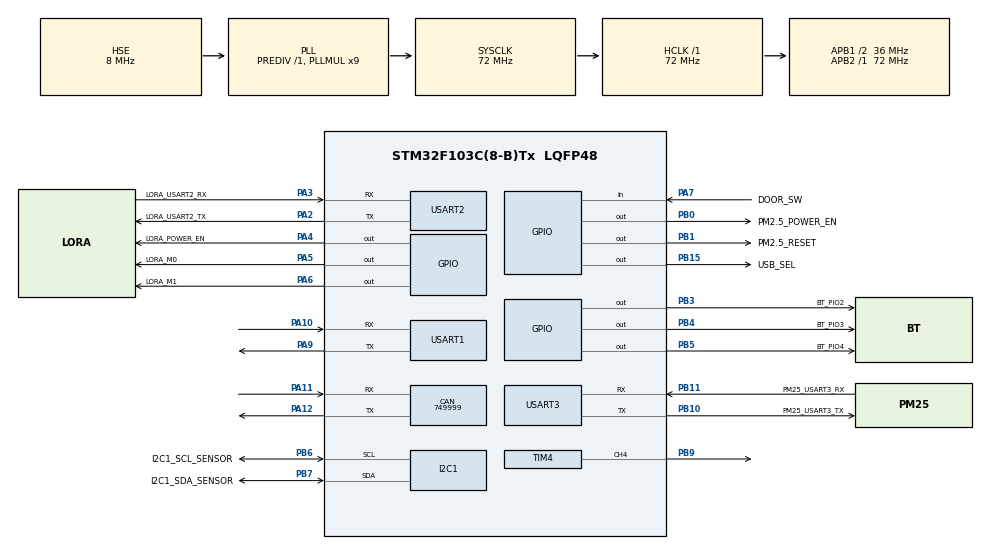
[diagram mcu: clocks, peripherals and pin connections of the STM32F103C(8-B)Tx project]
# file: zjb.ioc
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CAN.BS1=CAN_BS1_1TQ
CAN.BS2=CAN_BS2_1TQ
CAN.CalculateBaudRate=749999
CAN.CalculateTimeBit=1333
CAN.CalculateTimeQuantum=444.44444444444446
FREERTOS.Tasks01=defaultTask,24,128,StartDefaultTask,Default,NULL,Dynamic,NULL,NULL
Mcu.Family=STM32F1
Mcu.Name=STM32F103C(8-B)Tx
Mcu.Package=LQFP48
NVIC.PriorityGroup=NVIC_PRIORITYGROUP_4
PA10.Mode=Asynchronous
PA10.Signal=USART1_RX
PA11.Mode=CAN_Activate
PA11.Signal=CAN_RX
PA12.Mode=CAN_Activate
PA12.Signal=CAN_TX
PA13.Mode=Serial_Wire
PA13.Signal=SYS_JTMS-SWDIO
PA14.Mode=Serial_Wire
PA14.Signal=SYS_JTCK-SWCLK
PA2.GPIO_Label=LORA_USART2_TX
PA2.Mode=Asynchronous
PA2.Signal=USART2_TX
PA3.GPIO_Label=LORA_USART2_RX
PA3.Mode=Asynchronous
PA3.Signal=USART2_RX
PA4.GPIO_Label=LORA_POWER_EN
PA4.GPIO_PuPd=GPIO_PULLUP
PA4.PinState=GPIO_PIN_SET
PA4.Signal=GPIO_Output
PA5.GPIO_Label=LORA_M0
PA5.Signal=GPIO_Output
PA6.GPIO_Label=LORA_M1
PA6.Signal=GPIO_Output
PA7.GPIO_Label=DOOR_SW
PA7.Signal=GPIO_Input
PA9.Mode=Asynchronous
PA9.Signal=USART1_TX
PB0.GPIO_Label=PM2.5_POWER_EN
PB0.Signal=GPIO_Output
PB1.GPIO_Label=PM2.5_RESET
PB1.Signal=GPIO_Output
PB10.GPIO_Label=PM25_USART3_TX
PB10.Mode=Asynchronous
PB10.Signal=USART3_TX
PB11.GPIO_Label=PM25_USART3_RX
PB11.Mode=Asynchronous
PB11.Signal=USART3_RX
PB15.GPIO_Label=USB_SEL
PB15.Signal=GPIO_Output
PB3.GPIO_Label=BT_PIO2
PB3.Signal=GPIO_Output
PB4.GPIO_Label=BT_PIO3
PB4.Signal=GPIO_Output
PB5.GPIO_Label=BT_PIO4
PB5.Signal=GPIO_Output
PB6.GPIO_Label=I2C1_SCL_SENSOR
PB6.Mode=I2C
PB6.Signal=I2C1_SCL
PB7.GPIO_Label=I2C1_SDA_SENSOR
PB7.Mode=I2C
PB7.Signal=I2C1_SDA
PB9.Signal=S_TIM4_CH4
PD0-OSC_IN.Mode=HSE-External-Oscillator
PD0-OSC_IN.Signal=RCC_OSC_IN
PD1-OSC_OUT.Mode=HSE-External-Oscillator
PD1-OSC_OUT.Signal=RCC_OSC_OUT
ProjectManager.HeapSize=0x200
ProjectManager.StackSize=0x400
ProjectManager.TargetToolchain=MDK-ARM V5.32
RCC.AHBFreq_Value=72000000
RCC.APB1CLKDivider=RCC_HCLK_DIV2
RCC.APB1Freq_Value=36000000
RCC.APB1TimFreq_Value=72000000
RCC.APB2Freq_Value=72000000
RCC.APB2TimFreq_Value=72000000
RCC.HCLKFreq_Value=72000000
RCC.PLLMUL=RCC_PLL_MUL9
RCC.PLLSourceVirtual=RCC_PLLSOURCE_HSE
RCC.SYSCLKFreq_VALUE=72000000
RCC.SYSCLKSource=RCC_SYSCLKSOURCE_PLLCLK
RCC.USBFreq_Value=72000000
SH.S_TIM4_CH4.0=TIM4_CH4,PWM Generation4 CH4
TIM4.Channel-PWM\ Generation4\ CH4=TIM_CHANNEL_4
USART1.VirtualMode=VM_ASYNC
USART2.VirtualMode=VM_ASYNC
USART3.VirtualMode=VM_ASYNC
VP_FREERTOS_VS_CMSIS_V2.Mode=CMSIS_V2
board=custom

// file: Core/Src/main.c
/* USER CODE BEGIN Header */
/**
  ******************************************************************************
  * @file           : main.c
  * @brief          : Main program body
  ******************************************************************************
  * @attention
  *
  * Copyright (c) 2026 STMicroelectronics.
  * All rights reserved.
  *
  * This software is licensed under terms that can be found in the LICENSE file
  * in the root directory of this software component.
  * If no LICENSE file comes with this software, it is provided AS-IS.
  *
  ******************************************************************************
  */
/* USER CODE END Header */
#include "main.h"
#include "cmsis_os.h"
#include "can.h"
#include "i2c.h"
#include "tim.h"
#include "usart.h"
#include "gpio.h"

/* USER CODE BEGIN Includes */
#include "config_flash.h"
#include "ota.h"
#include "lora_boot.h"
/* USER CODE END Includes */

void SystemClock_Config(void);
void MX_FREERTOS_Init(void);

int main(void)
{

  /* USER CODE BEGIN 1 */
  /* 重定向中断向量表到 App 起始地址（Bootloader 跳转后 VTOR 仍指向 0x08000000） */
  SCB->VTOR = APP_FLASH_ADDR;
  /* USER CODE END 1 */

  /* MCU Configuration--------------------------------------------------------*/

  /* Reset of all peripherals, Initializes the Flash interface and the Systick. */
  HAL_Init();

  /* Configure the system clock */
  SystemClock_Config();

  /* Initialize all configured peripherals */
  MX_GPIO_Init();
  MX_CAN_Init();
  MX_I2C1_Init();
  MX_TIM4_Init();
  MX_USART1_UART_Init();
  MX_USART2_UART_Init();
  MX_USART3_UART_Init();
  /* USER CODE BEGIN 2 */
  OTA_Init();
  Config_Load();
  Config_ApplyIoOutputs();
  (void)Lora_BootApplyConfig();

  /* USER CODE END 2 */

  /* Init scheduler */
  osKernelInitialize();  /* Call init function for freertos objects (in cmsis_os2.c) */
  MX_FREERTOS_Init();

  /* Start scheduler */
  osKernelStart();

  /* We should never get here as control is now taken by the scheduler */

  /* Infinite loop */
  while (1)
  {

  }
}

void SystemClock_Config(void)
{
  RCC_OscInitTypeDef RCC_OscInitStruct = {0};
  RCC_ClkInitTypeDef RCC_ClkInitStruct = {0};

  /** Initializes the RCC Oscillators according to the specified parameters
  * in the RCC_OscInitTypeDef structure.
  */
  RCC_OscInitStruct.OscillatorType = RCC_OSCILLATORTYPE_HSE;
  RCC_OscInitStruct.HSEState = RCC_HSE_ON;
  RCC_OscInitStruct.HSEPredivValue = RCC_HSE_PREDIV_DIV1;
  RCC_OscInitStruct.HSIState = RCC_HSI_ON;
  RCC_OscInitStruct.PLL.PLLState = RCC_PLL_ON;
  RCC_OscInitStruct.PLL.PLLSource = RCC_PLLSOURCE_HSE;
  RCC_OscInitStruct.PLL.PLLMUL = RCC_PLL_MUL9;
  if (HAL_RCC_OscConfig(&RCC_OscInitStruct) != HAL_OK)
  {
    Error_Handler();
  }

  /** Initializes the CPU, AHB and APB buses clocks
  */
  RCC_ClkInitStruct.ClockType = RCC_CLOCKTYPE_HCLK|RCC_CLOCKTYPE_SYSCLK
                              |RCC_CLOCKTYPE_PCLK1|RCC_CLOCKTYPE_PCLK2;
  RCC_ClkInitStruct.SYSCLKSource = RCC_SYSCLKSOURCE_PLLCLK;
  RCC_ClkInitStruct.AHBCLKDivider = RCC_SYSCLK_DIV1;
  RCC_ClkInitStruct.APB1CLKDivider = RCC_HCLK_DIV2;
  RCC_ClkInitStruct.APB2CLKDivider = RCC_HCLK_DIV1;

  if (HAL_RCC_ClockConfig(&RCC_ClkInitStruct, FLASH_LATENCY_2) != HAL_OK)
  {
    Error_Handler();
  }
}

void Error_Handler(void)
{
  __disable_irq();
  while (1)
  {
  }
}

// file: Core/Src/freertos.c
/* USER CODE BEGIN Header */
/**
  ******************************************************************************
  * File Name          : freertos.c
  * Description        : Code for freertos applications
  ******************************************************************************
  * @attention
  *
  * Copyright (c) 2026 STMicroelectronics.
  * All rights reserved.
  *
  * This software is licensed under terms that can be found in the LICENSE file
  * in the root directory of this software component.
  * If no LICENSE file comes with this software, it is provided AS-IS.
  *
  ******************************************************************************
  */
/* USER CODE END Header */

#include "FreeRTOS.h"
#include "task.h"
#include "main.h"
#include "cmsis_os.h"
/* USER CODE BEGIN Includes */
#include "debug.h"
#include "usart.h"
#include "pm25.h"
#include "ens160.h"
#include "aht20.h"
#include "bmp280.h"
#include "fan.h"
#include "tim.h"
#include "protec_protocol.h"
#include "config_flash.h"
#include "protocol.h"
#include "ota.h"
#include "usart.h"
#include <stdio.h>
/* USER CODE END Includes */

/* USER CODE BEGIN PD */
/* 上电传感器自检串口打印：联调/生产保持 0 */
#define SENSOR_DEBUG_BOOT_CHECK  0
/* USER CODE END PD */

/* Definitions for defaultTask */
osThreadId_t defaultTaskHandle;
const osThreadAttr_t defaultTask_attributes = {
  .name = "defaultTask",
  .stack_size = 512 * 4,
  .priority = (osPriority_t) osPriorityNormal,
};

/* Definitions for sensorTask */
osThreadId_t sensorTaskHandle;
const osThreadAttr_t sensorTask_attributes = {
  .name = "sensorTask",
  .stack_size = 384 * 4,
  .priority = (osPriority_t) osPriorityNormal,
};

/* Definitions for fanTask */
osThreadId_t fanTaskHandle;
const osThreadAttr_t fanTask_attributes = {
  .name = "fanTask",
  .stack_size = 128 * 4,
  .priority = (osPriority_t) osPriorityBelowNormal,
};

/* Definitions for doorTask */
osThreadId_t doorTaskHandle;
const osThreadAttr_t doorTask_attributes = {
  .name = "doorTask",
  .stack_size = 128 * 4,
  .priority = (osPriority_t) osPriorityAboveNormal,
};

/* USER CODE BEGIN FunctionPrototypes */
#if SENSOR_DEBUG_BOOT_CHECK
static void Sensor_PrintBootCheck(void);
#endif
/* USER CODE END FunctionPrototypes */

void StartDefaultTask(void *argument);
void StartSensorTask(void *argument);
void StartFanTask(void *argument);
void StartDoorTask(void *argument);

void MX_FREERTOS_Init(void); /* (MISRA C 2004 rule 8.1) */

void MX_FREERTOS_Init(void) {
  /* USER CODE BEGIN Init */
  USART1_TxInit();
  USART2_TxInit();
  /* USER CODE END Init */

  /* Create the thread(s) */
  /* creation of defaultTask */
  defaultTaskHandle = osThreadNew(StartDefaultTask, NULL, &defaultTask_attributes);

  /* creation of sensorTask */
  sensorTaskHandle = osThreadNew(StartSensorTask, NULL, &sensorTask_attributes);

  /* creation of fanTask */
  fanTaskHandle = osThreadNew(StartFanTask, NULL, &fanTask_attributes);

  /* creation of doorTask */
  doorTaskHandle = osThreadNew(StartDoorTask, NULL, &doorTask_attributes);

}

void StartDefaultTask(void *argument)
{
  /* USER CODE BEGIN StartDefaultTask */
  for(;;)
  {
    Protocol_OnUart1Bytes();
    Protocol_OnUart2Bytes();
    Protocol_OnCanFrames();
    Protocol_CanHeartbeatPoll();
    /* DONE 后异步 Finish/复位放这里，避免只靠 sensorTask 的 200ms 周期 */
    OTA_Service();

    osDelay(20);
  }
  /* USER CODE END StartDefaultTask */
}

#if SENSOR_DEBUG_BOOT_CHECK
static void Sensor_PrintBootCheck(void)
{
  ENS160_Data_t ens;
  AHT20_Data_t aht;
  BMP280_Data_t bmp;
  PM25_Data_t pm25;

  AHT20_Update();
  BMP280_Update();

  AHT20_GetData(&aht);
  if (aht.online != 0U)
  {
    ENS160_SetCompensation(aht.temperature_c, aht.humidity_rh);
  }
  ENS160_Update();

  ENS160_GetData(&ens);
  BMP280_GetData(&bmp);
  PM25_GetData(&pm25);

  printf("=== SENSOR BOOT CHECK ===\r\n");
  printf("AHT20  online=%u  T=%.1fC  RH=%.1f%%\r\n",
         (unsigned)aht.online,
         (double)aht.temperature_c,
         (double)aht.humidity_rh);
  printf("BMP280 online=%u  P=%.0fPa\r\n",
         (unsigned)bmp.online,
         (double)bmp.pressure_pa);
  printf("ENS160 online=%u  eCO2=%u  TVOC=%u  status=0x%02X  phase=%s\r\n",
         (unsigned)ens.online,
         (unsigned)ens.eco2,
         (unsigned)ens.tvoc,
         (unsigned)ens.device_status,
         ENS160_WarmupText(ens.warmup_phase));
  printf("PM25   online=%u  pm2_5=%u (未装传感器时为0)\r\n",
         (unsigned)pm25.online,
         (unsigned)pm25.pm2_5);

  if ((aht.online == 0U) && (bmp.online == 0U) && (ens.online == 0U))
  {
    printf("WARN: I2C sensors all offline, check PB6/PB7 pull-up & solder\r\n");
  }

  printf("=========================\r\n");
}
#endif

void StartSensorTask(void *argument)
{
  /* USER CODE BEGIN StartSensorTask */
  PM25_Data_t pm25_data;
  PM25_Data_t pm25_last;
  AHT20_Data_t aht_data;
  uint32_t last_i2c_update = 0U;

  /* 上电后等待传感器/总线稳定，减少偶发 I2C 首读失败 */
  osDelay(300);

  PM25_Rx_Start();
  ENS160_Init();
  AHT20_Init();
  BMP280_Init();
  Protec_Init();

#if SENSOR_DEBUG_BOOT_CHECK
  Sensor_PrintBootCheck();
#endif

  pm25_last.last_update_tick = 0U;
  pm25_last.pm1_0 = 0U;
  pm25_last.pm2_5 = 0U;
  pm25_last.pm10 = 0U;
  pm25_last.online = 0U;

  for(;;)
  {
    USART1_HealthService();

    PM25_GetData(&pm25_data);

    if (pm25_data.last_update_tick != pm25_last.last_update_tick)
    {
//      printf("PM frame: pm1_0=%u pm2_5=%u pm10=%u online=%u tick=%lu\r\n",
//             (unsigned)pm25_data.pm1_0,
//             (unsigned)pm25_data.pm2_5,
//             (unsigned)pm25_data.pm10,
//             (unsigned)pm25_data.online,
//             (unsigned long)pm25_data.last_update_tick);

      pm25_last = pm25_data;
    }

    if ((HAL_GetTick() - last_i2c_update) >= 1000U)
    {
      last_i2c_update = HAL_GetTick();

      AHT20_Update();
      BMP280_Update();

      AHT20_GetData(&aht_data);
      if (aht_data.online != 0U)
      {
        ENS160_SetCompensation(aht_data.temperature_c, aht_data.humidity_rh);
      }
      ENS160_Update();

      if (OTA_IsRealtimeMuted() == 0U)
      {
        Protec_SendRealtime();
      }
    }

    osDelay(200);
  }
  /* USER CODE END StartSensorTask */
}

void StartFanTask(void *argument)
{
  /* USER CODE BEGIN StartFanTask */
  uint32_t period;
  uint32_t pulse;
  uint32_t last_print_tick = 0U;
  uint8_t on;

  HAL_TIM_PWM_Start(&htim4, TIM_CHANNEL_4);
  period = htim4.Init.Period;
  for (;;)
  {
    on = Fan_Get();                         // 0: ?, 1: ?
    pulse = (on != 0U) ? period : 0U;       // ?? or ??
    __HAL_TIM_SET_COMPARE(&htim4, TIM_CHANNEL_4, pulse);

    if ((HAL_GetTick() - last_print_tick) >= 1000U)
    {
      last_print_tick = HAL_GetTick();
     // printf("FAN: state=%u pulse=%lu\r\n",
     //        (unsigned)on,
     //        (unsigned long)pulse);
    }

    osDelay(100);
  }
  /* USER CODE END StartFanTask */
}

void StartDoorTask(void *argument)
{
  /* USER CODE BEGIN StartDoorTask */
  GPIO_PinState last_state;
  GPIO_PinState cur_state;
  uint32_t stable_count = 0U;
  uint32_t last_print_tick = 0U;

  last_state = HAL_GPIO_ReadPin(DOOR_SW_GPIO_Port, DOOR_SW_Pin);

  for(;;)
  {
    cur_state = HAL_GPIO_ReadPin(DOOR_SW_GPIO_Port, DOOR_SW_Pin);

    if (cur_state == last_state)
    {
      if (stable_count < 5U)
      {
        stable_count++;
      }
    }
    else
    {
      stable_count = 0U;
      last_state = cur_state;
    }

    if ((HAL_GetTick() - last_print_tick) >= 1000U)
    {
      last_print_tick = HAL_GetTick();
     // printf("DOOR state: %s\r\n", (cur_state == GPIO_PIN_SET) ? "OPEN" : "CLOSED");
    }

    osDelay(10);
  }
  /* USER CODE END StartDoorTask */
}
